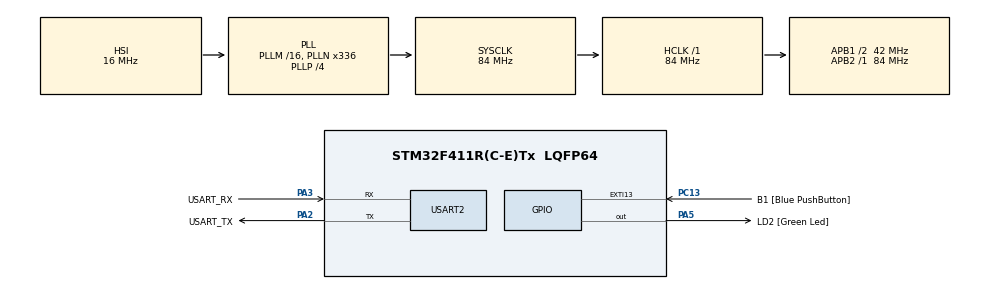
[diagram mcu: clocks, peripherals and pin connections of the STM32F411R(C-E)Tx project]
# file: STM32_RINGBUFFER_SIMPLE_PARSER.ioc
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Mcu.Family=STM32F4
Mcu.Name=STM32F411R(C-E)Tx
Mcu.Package=LQFP64
NVIC.PriorityGroup=NVIC_PRIORITYGROUP_0
NVIC.USART2_IRQn=true\:0\:0\:false\:true\:true\:1\:true\:true\:true
PA13.GPIO_Label=TMS
PA13.Mode=Serial_Wire
PA13.Signal=SYS_JTMS-SWDIO
PA14.GPIO_Label=TCK
PA14.Mode=Serial_Wire
PA14.Signal=SYS_JTCK-SWCLK
PA2.GPIO_Label=USART_TX
PA2.Mode=Asynchronous
PA2.Signal=USART2_TX
PA3.GPIO_Label=USART_RX
PA3.Mode=Asynchronous
PA3.Signal=USART2_RX
PA5.GPIO_Label=LD2 [Green Led]
PA5.Signal=GPIO_Output
PB3.GPIO_Label=SWO
PB3.Signal=SYS_JTDO-SWO
PC13-ANTI_TAMP.GPIO_Label=B1 [Blue PushButton]
PC13-ANTI_TAMP.GPIO_ModeDefaultEXTI=GPIO_MODE_IT_FALLING
PC13-ANTI_TAMP.Signal=GPXTI13
PC14-OSC32_IN.Mode=LSE-External-Oscillator
PC14-OSC32_IN.Signal=RCC_OSC32_IN
PC15-OSC32_OUT.Mode=LSE-External-Oscillator
PC15-OSC32_OUT.Signal=RCC_OSC32_OUT
PH0\ -\ OSC_IN.Mode=HSE-External-Clock-Source
PH0\ -\ OSC_IN.Signal=RCC_OSC_IN
PH1\ -\ OSC_OUT.Mode=HSE-External-Clock-Source
PH1\ -\ OSC_OUT.Signal=RCC_OSC_OUT
ProjectManager.HeapSize=0x200
ProjectManager.StackSize=0x400
ProjectManager.TargetToolchain=Makefile
RCC.48MHZClocksFreq_Value=84000000
RCC.AHBFreq_Value=84000000
RCC.APB1CLKDivider=RCC_HCLK_DIV2
RCC.APB1Freq_Value=42000000
RCC.APB1TimFreq_Value=84000000
RCC.APB2Freq_Value=84000000
RCC.APB2TimFreq_Value=84000000
RCC.CortexFreq_Value=84000000
RCC.FLatency-AdvancedSettings=FLASH_LATENCY_2
RCC.HCLKFreq_Value=84000000
RCC.HSE_VALUE=8000000
RCC.HSI_VALUE=16000000
RCC.PLLN=336
RCC.PLLP=RCC_PLLP_DIV4
RCC.SYSCLKFreq_VALUE=84000000
RCC.SYSCLKSource=RCC_SYSCLKSOURCE_PLLCLK
RCC.VCOOutputFreq_Value=336000000
USART2.VirtualMode=VM_ASYNC
board=NUCLEO-F411RE

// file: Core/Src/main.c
/* USER CODE BEGIN Header */
/**
 ******************************************************************************
 * @file           : main.c
 * @brief          : Main program body
 ******************************************************************************
 * @attention
 *
 * Copyright (c) 2022 STMicroelectronics.
 * All rights reserved.
 *
 * This software is licensed under terms that can be found in the LICENSE file
 * in the root directory of this software component.
 * If no LICENSE file comes with this software, it is provided AS-IS.
 *
 ******************************************************************************
 */
/* USER CODE END Header */
#include "main.h"
#include "usart.h"
#include "gpio.h"

/* USER CODE BEGIN Includes */
#include "ring_buffer.h"
#include "string.h"
#include "parser_simple.h"
#include "utils.h"
/* USER CODE END Includes */

/* USER CODE BEGIN PV */
RingBuffer_t ReceiveBuffer;
uint8_t ReceiveTmp;
uint8_t ReceivedLines;
uint8_t ReceivedData[16];
/* USER CODE END PV */

void SystemClock_Config(void);
static void MX_NVIC_Init(void);

int main(void)
{

  /* MCU Configuration--------------------------------------------------------*/

  /* Reset of all peripherals, Initializes the Flash interface and the Systick. */
  HAL_Init();

  /* Configure the system clock */
  SystemClock_Config();

  /* Initialize all configured peripherals */
  MX_GPIO_Init();
  MX_USART2_UART_Init();

  /* Initialize interrupts */
  MX_NVIC_Init();
  /* USER CODE BEGIN 2 */
  HAL_UART_Receive_IT(&huart2, &ReceiveTmp, 1);
  /* USER CODE END 2 */

  /* Infinite loop */
  /* USER CODE BEGIN WHILE */
  while (1)
  {
    if (ReceivedLines > 0)
    {
      Parser_TakeLine(&ReceiveBuffer, ReceivedData);
      ReceivedLines--;
      Parser_Parse(ReceivedData);
    }
    /* USER CODE END WHILE */

  }
}

void SystemClock_Config(void)
{
  RCC_OscInitTypeDef RCC_OscInitStruct = {0};
  RCC_ClkInitTypeDef RCC_ClkInitStruct = {0};

  /** Configure the main internal regulator output voltage
   */
  __HAL_RCC_PWR_CLK_ENABLE();
  __HAL_PWR_VOLTAGESCALING_CONFIG(PWR_REGULATOR_VOLTAGE_SCALE1);

  /** Initializes the RCC Oscillators according to the specified parameters
   * in the RCC_OscInitTypeDef structure.
   */
  RCC_OscInitStruct.OscillatorType = RCC_OSCILLATORTYPE_HSI;
  RCC_OscInitStruct.HSIState = RCC_HSI_ON;
  RCC_OscInitStruct.HSICalibrationValue = RCC_HSICALIBRATION_DEFAULT;
  RCC_OscInitStruct.PLL.PLLState = RCC_PLL_ON;
  RCC_OscInitStruct.PLL.PLLSource = RCC_PLLSOURCE_HSI;
  RCC_OscInitStruct.PLL.PLLM = 16;
  RCC_OscInitStruct.PLL.PLLN = 336;
  RCC_OscInitStruct.PLL.PLLP = RCC_PLLP_DIV4;
  RCC_OscInitStruct.PLL.PLLQ = 4;
  if (HAL_RCC_OscConfig(&RCC_OscInitStruct) != HAL_OK)
  {
    Error_Handler();
  }

  /** Initializes the CPU, AHB and APB buses clocks
   */
  RCC_ClkInitStruct.ClockType = RCC_CLOCKTYPE_HCLK | RCC_CLOCKTYPE_SYSCLK | RCC_CLOCKTYPE_PCLK1 | RCC_CLOCKTYPE_PCLK2;
  RCC_ClkInitStruct.SYSCLKSource = RCC_SYSCLKSOURCE_PLLCLK;
  RCC_ClkInitStruct.AHBCLKDivider = RCC_SYSCLK_DIV1;
  RCC_ClkInitStruct.APB1CLKDivider = RCC_HCLK_DIV2;
  RCC_ClkInitStruct.APB2CLKDivider = RCC_HCLK_DIV1;

  if (HAL_RCC_ClockConfig(&RCC_ClkInitStruct, FLASH_LATENCY_2) != HAL_OK)
  {
    Error_Handler();
  }
}

/**
 * @brief NVIC Configuration.
 * @retval None
 */
static void MX_NVIC_Init(void)
{
  /* USART2_IRQn interrupt configuration */
  HAL_NVIC_SetPriority(USART2_IRQn, 0, 0);
  HAL_NVIC_EnableIRQ(USART2_IRQn);
}

/* USER CODE BEGIN 4 */
void HAL_UART_RxCpltCallback(UART_HandleTypeDef *huart)
{
  if (huart->Instance == USART2)
  {

    if (RB_OK == RB_Write(&ReceiveBuffer, ReceiveTmp))
    {
      if (ReceiveTmp == ENDLINE)
      {
        ReceivedLines++;
      }
    }

    HAL_UART_Receive_IT(&huart2, &ReceiveTmp, 1);
  }
}

/* USER CODE END 4 */

void Error_Handler(void)
{
  __disable_irq();
  while (1)
  {
  }
}
